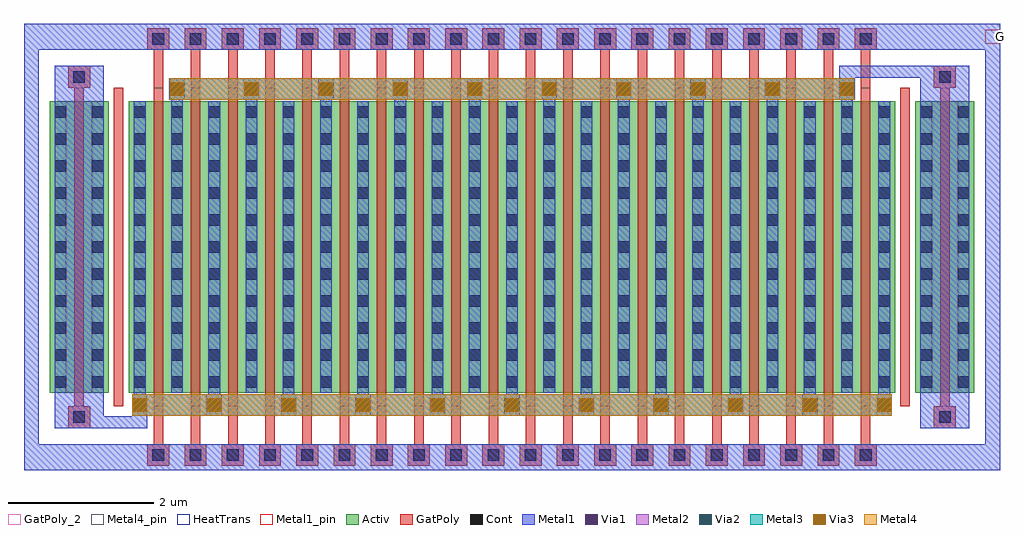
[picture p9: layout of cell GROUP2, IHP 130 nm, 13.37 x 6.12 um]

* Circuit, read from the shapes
.subckt GROUP2 G
XM1 nmos$2_priv1_0/D nmos$2_priv1_0/D nmos$2_priv1_0/D VSUBS sg13_lv_nmos w=4u l=0.13u
XM2 nmos$2_priv1_0/S G nmos$2_priv1_0/D VSUBS sg13_lv_nmos w=4u l=0.13u m=20
XM3 nmos$2_priv1_0/S nmos$2_priv1_0/S nmos$2_priv1_0/S VSUBS sg13_lv_nmos w=4u l=0.13u
.ends

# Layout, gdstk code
import gdstk
lib = gdstk.Library(unit=1e-6, precision=1e-09)
def R(c, l, rs):  # rectangles x0, y0, x1, y1
    for r in rs: c.add(gdstk.rectangle(r[:2], r[2:], *l))
def A(c, l, x, y, w, h, nx, ny, dx, dy):  # array of equal rectangles
    R(c, l, [(x+i*dx, y+j*dy, x+i*dx+w, y+j*dy+h) for i in range(nx) for j in range(ny)])
Activ = (1, 0)
GatPoly = (5, 0)
GatPoly_2 = (5, 2)
Cont = (6, 0)
Metal1 = (8, 0)
Metal1_pin = (8, 2)
Metal2 = (10, 0)
Via1 = (19, 0)
Via2 = (29, 0)
Metal3 = (30, 0)
Via3 = (49, 0)
Metal4 = (50, 0)
Metal4_pin = (50, 2)
HeatTrans = (51, 0)

nmos_2_priv1 = lib.new_cell('nmos$2_priv1')
A(nmos_2_priv1, Activ, 0, 0, 0.3, 0.3, 21, 1, 0.51, 0)
R(nmos_2_priv1, Activ, [(0,0,10.5,4)])
A(nmos_2_priv1, GatPoly, 0.255, -1, 0.3, 0.3, 20, 2, 0.51, 5.7)
A(nmos_2_priv1, GatPoly, 0.34, -0.7, 0.13, 0.52, 20, 2, 0.51, 4.88)
A(nmos_2_priv1, GatPoly, 0.34, -0.18, 0.13, 4.36, 20, 1, 0.51, 0)
R(nmos_2_priv1, GatPoly_2, [(0.34,-0.18,0.47,4.18)])
A(nmos_2_priv1, Cont, 0.325, -0.93, 0.16, 0.16, 20, 2, 0.51, 5.7)
A(nmos_2_priv1, Cont, 0.07, 0.07, 0.16, 0.16, 21, 11, 0.51, 0.37)
A(nmos_2_priv1, Metal1, 0.27, -1.06, 0.27, 0.36, 20, 2, 0.51, 5.76)
A(nmos_2_priv1, Metal1, 0.045, -0.31, 0.21, 0.29, 11, 1, 1.02, 0)
A(nmos_2_priv1, Metal1, 0.07, -0.035, 0.16, 0.05, 11, 1, 1.02, 0)
A(nmos_2_priv1, Metal1, 0.07, 0, 0.16, 4, 21, 1, 0.51, 0)
A(nmos_2_priv1, Metal1, 0.58, 3.985, 0.16, 0.05, 10, 1, 1.02, 0)
A(nmos_2_priv1, Metal1, 0.555, 4.02, 0.21, 0.29, 10, 1, 1.02, 0)
R(nmos_2_priv1, Metal1_pin, [(0.07,0,0.23,4), (0.58,0,0.74,4)])
A(nmos_2_priv1, Metal2, 0.05, -0.31, 0.2, 0.29, 11, 1, 1.02, 0)
A(nmos_2_priv1, Metal2, 0.56, 4.02, 0.2, 0.29, 10, 1, 1.02, 0)
R(nmos_2_priv1, Metal2, [(0.05,-0.31,10.45,-0.02), (0.56,4.02,9.94,4.31)])
A(nmos_2_priv1, Via1, 0.055, -0.26, 0.19, 0.19, 11, 1, 1.02, 0)
A(nmos_2_priv1, Via1, 0.565, 4.07, 0.19, 0.19, 10, 1, 1.02, 0)
A(nmos_2_priv1, Via2, 0.055, -0.26, 0.19, 0.19, 11, 1, 1.02, 0)
A(nmos_2_priv1, Via2, 0.565, 4.07, 0.19, 0.19, 10, 1, 1.02, 0)
A(nmos_2_priv1, Metal3, 0.05, -0.31, 0.2, 0.29, 11, 1, 1.02, 0)
A(nmos_2_priv1, Metal3, 0.56, 4.02, 0.2, 0.29, 10, 1, 1.02, 0)
R(nmos_2_priv1, Metal3, [(0.05,-0.31,10.45,-0.02), (0.56,4.02,9.94,4.31)])
A(nmos_2_priv1, Via3, 0.055, -0.26, 0.19, 0.19, 11, 1, 1.02, 0)
A(nmos_2_priv1, Via3, 0.565, 4.07, 0.19, 0.19, 10, 1, 1.02, 0)
A(nmos_2_priv1, Metal4, 0.05, -0.31, 0.2, 0.29, 11, 1, 1.02, 0)
A(nmos_2_priv1, Metal4, 0.56, 4.02, 0.2, 0.29, 10, 1, 1.02, 0)
R(nmos_2_priv1, Metal4, [(0.05,-0.31,10.45,-0.02), (0.56,4.02,9.94,4.31)])
R(nmos_2_priv1, Metal4_pin, [(10.255,-0.26,10.445,-0.07), (9.745,4.07,9.935,4.26)])
A(nmos_2_priv1, HeatTrans, 0.34, -0.18, 0.13, 4.36, 20, 1, 0.51, 0)
nmos_2_priv1.add(gdstk.Label('nmos', (0.405,2), layer=63, texttype=0))
nmos_2_priv1.add(gdstk.Label('nmos', (0.405,2), layer=51, texttype=0))
nmos_2_priv1.add(gdstk.Label('nmos', (0.915,2), layer=51, texttype=0))
nmos_2_priv1.add(gdstk.Label('nmos', (1.425,2), layer=51, texttype=0))
nmos_2_priv1.add(gdstk.Label('nmos', (1.935,2), layer=51, texttype=0))
nmos_2_priv1.add(gdstk.Label('nmos', (2.445,2), layer=51, texttype=0))
nmos_2_priv1.add(gdstk.Label('nmos', (2.955,2), layer=51, texttype=0))
nmos_2_priv1.add(gdstk.Label('nmos', (3.465,2), layer=51, texttype=0))
nmos_2_priv1.add(gdstk.Label('nmos', (3.975,2), layer=51, texttype=0))
nmos_2_priv1.add(gdstk.Label('nmos', (4.485,2), layer=51, texttype=0))
nmos_2_priv1.add(gdstk.Label('nmos', (4.995,2), layer=51, texttype=0))
nmos_2_priv1.add(gdstk.Label('nmos', (5.505,2), layer=51, texttype=0))
nmos_2_priv1.add(gdstk.Label('nmos', (6.015,2), layer=51, texttype=0))
nmos_2_priv1.add(gdstk.Label('nmos', (6.525,2), layer=51, texttype=0))
nmos_2_priv1.add(gdstk.Label('nmos', (7.035,2), layer=51, texttype=0))
nmos_2_priv1.add(gdstk.Label('nmos', (7.545,2), layer=51, texttype=0))
nmos_2_priv1.add(gdstk.Label('nmos', (8.055,2), layer=51, texttype=0))
nmos_2_priv1.add(gdstk.Label('nmos', (8.565,2), layer=51, texttype=0))
nmos_2_priv1.add(gdstk.Label('nmos', (9.075,2), layer=51, texttype=0))
nmos_2_priv1.add(gdstk.Label('nmos', (9.585,2), layer=51, texttype=0))
nmos_2_priv1.add(gdstk.Label('nmos', (10.095,2), layer=51, texttype=0))
nmos_2_priv1.add(gdstk.Label('S', (9.84,4.165), layer=50, texttype=0))
nmos_2_priv1.add(gdstk.Label('D', (10.35,-0.165), layer=50, texttype=0))

nmos_5_priv1 = lib.new_cell('nmos$5_priv1')
R(nmos_5_priv1, Activ, [(0,0,0.3,0.3), (0,0,0.81,4), (0.51,0,0.81,0.3)])
R(nmos_5_priv1, GatPoly, [(0.255,-0.48,0.555,-0.18), (0.34,-0.18,0.47,4.18), (0.255,4.18,0.555,4.48)])
R(nmos_5_priv1, GatPoly_2, [(0.34,-0.18,0.47,4.18)])
A(nmos_5_priv1, Cont, 0.07, 0.07, 0.16, 0.16, 1, 11, 0, 0.37)
A(nmos_5_priv1, Cont, 0.58, 0.07, 0.16, 0.16, 1, 11, 0, 0.37)
R(nmos_5_priv1, Cont, [(0.325,-0.41,0.485,-0.25), (0.325,4.25,0.485,4.41)])
R(nmos_5_priv1, Metal1, [(0.07,-0.48,0.74,4.48), (0.07,0,0.23,4), (0.58,0,0.74,4)])
R(nmos_5_priv1, Metal1_pin, [(0.07,0,0.23,4), (0.58,0,0.74,4)])
R(nmos_5_priv1, HeatTrans, [(0.34,-0.18,0.47,4.18)])
nmos_5_priv1.add(gdstk.Label('nmos', (0.405,2), layer=63, texttype=0))
nmos_5_priv1.add(gdstk.Label('nmos', (0.405,2), layer=51, texttype=0))

nmos_5_priv2 = lib.new_cell('nmos$5_priv2')
R(nmos_5_priv2, Activ, [(0,0,0.3,0.3), (0,0,0.81,4), (0.51,0,0.81,0.3)])
R(nmos_5_priv2, GatPoly, [(0.255,-0.48,0.555,-0.18), (0.34,-0.18,0.47,4.18), (0.255,4.18,0.555,4.48)])
R(nmos_5_priv2, GatPoly_2, [(0.34,-0.18,0.47,4.18)])
A(nmos_5_priv2, Cont, 0.07, 0.07, 0.16, 0.16, 1, 11, 0, 0.37)
A(nmos_5_priv2, Cont, 0.58, 0.07, 0.16, 0.16, 1, 11, 0, 0.37)
R(nmos_5_priv2, Cont, [(0.325,-0.41,0.485,-0.25), (0.325,4.25,0.485,4.41)])
R(nmos_5_priv2, Metal1, [(0.07,-0.48,0.74,4.48), (0.07,0,0.23,4), (0.58,0,0.74,4)])
R(nmos_5_priv2, Metal1_pin, [(0.07,0,0.23,4), (0.58,0,0.74,4)])
R(nmos_5_priv2, HeatTrans, [(0.34,-0.18,0.47,4.18)])
nmos_5_priv2.add(gdstk.Label('nmos', (0.405,2), layer=63, texttype=0))
nmos_5_priv2.add(gdstk.Label('nmos', (0.405,2), layer=51, texttype=0))

group2 = lib.new_cell('GROUP2')
R(group2, GatPoly, [(326.465,178.04,326.595,182.4), (337.24,178.04,337.37,182.4)])
R(group2, Metal1, [(325.235,177.16,338.605,177.52), (325.235,177.16,325.435,183.28), (338.405,177.16,338.605,183.28), (326.325,177.74,326.925,177.9), (326.715,177.9,326.925,178.2), (336.405,182.24,336.615,182.54), (336.405,182.54,337.515,182.7), (325.235,182.92,338.605,183.28)])
R(group2, Metal1_pin, [(338.405,183.005,338.605,183.195)])
group2.add(gdstk.Reference(nmos_2_priv1, (326.67,178.22)))
group2.add(gdstk.Reference(nmos_5_priv1, (325.585,178.22)))
group2.add(gdstk.Reference(nmos_5_priv2, (337.445,178.22)))
group2.add(gdstk.Label('G', (338.605,183.1), layer=8, texttype=0))

lib.write_gds('GROUP2.gds')
